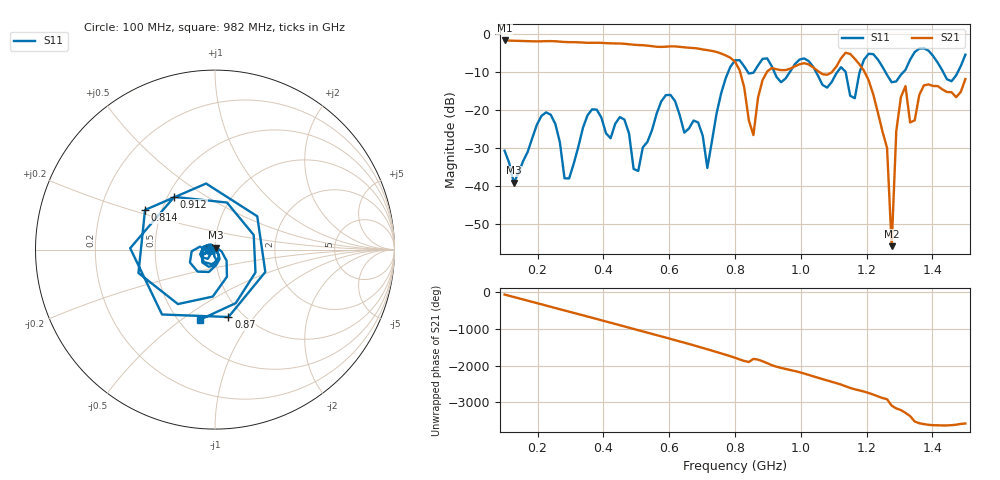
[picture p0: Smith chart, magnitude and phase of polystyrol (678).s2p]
! NanoVNA-App
! Date: 2025-09-25 15:35:09
! Start: 100MHz Stop: 1,5GHz Points: 101
! S-Parameter data: F S11 S21 S12 S22
# Hz S RI R 50
!  Frequency  S11_Real  S11_Imag  S21_Real  S21_Imag  S12_Real  S12_Imag  S22_Real  S22_Imag
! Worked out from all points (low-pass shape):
!   101 points, 100 MHz to 1.5 GHz, reference 50 ohm
!   highest |S21| = -1.80 dB at 100 MHz (marker M1); lowest = -55.7 dB at 1.276 GHz (marker M2)
!   |S21| within 3 dB of the highest: start of sweep to 743.1 MHz
!   lowest |S11| = -39.1 dB at 128 MHz (marker M3), VSWR 1.02, Z = 50.3 + j1.06 ohm
!   |S11| at or under -10 dB: start of sweep to 779.8 MHz; 1.046 GHz to 1.112 GHz (65.87 MHz wide, 6.11 % of centre); 1.256 GHz to 1.313 GHz (56.15 MHz wide, 4.37 % of centre) (the widest 3 of 7)
!   S12 and S22 are empty: the file has one direction only
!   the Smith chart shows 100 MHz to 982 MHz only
!   S11 on the Smith chart (normalised r, x): 100 MHz: 0.94, -0.01; 814 MHz: 0.40, +0.22; 870 MHz: 0.86, -0.75; 912 MHz: 0.54, +0.37; 982 MHz: 0.64, -0.59
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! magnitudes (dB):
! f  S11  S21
! 100 MHz  -30.7  -1.8
! 128 MHz  -39.1  -1.9
! 212 MHz  -21.6  -2.0
! 282 MHz  -37.9  -2.2
! 338 MHz  -24.7  -2.3
! 506 MHz  -36.0  -3.0
! 576 MHz  -17.8  -3.5
! 716 MHz  -35.2  -4.3
! 800 MHz  -7.0  -7.3
! 814 MHz  -7.0  -9.6
! 856 MHz  -10.3  -26.6
! 870 MHz  -8.3  -16.7
! 912 MHz  -8.6  -9.0
! 982 MHz  -8.0  -8.6
! 1.038 GHz  -8.7  -8.9
! 1.164 GHz  -16.9  -6.6
! 1.206 GHz  -5.3  -12.2
! 1.262 GHz  -10.8  -30.0
! 1.276 GHz  -12.8  -55.7
! 1.29 GHz  -12.5  -25.6
! 1.318 GHz  -9.5  -13.8
! 1.5 GHz  -5.5  -11.9
